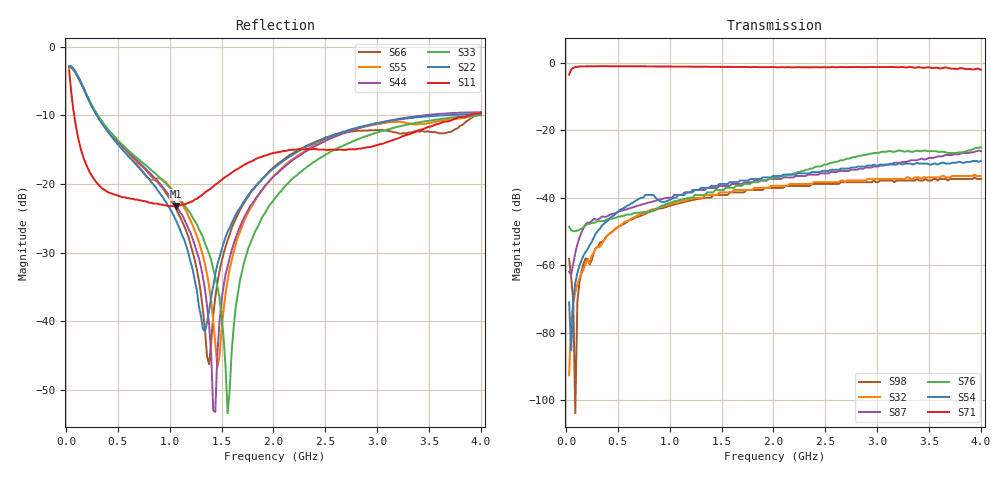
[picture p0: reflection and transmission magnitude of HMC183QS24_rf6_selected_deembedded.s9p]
!Hittite Microwave Corporation
!12 Elizabeth Drive
!Chelmsford, MA 01824
!Tel: 978-250-3343
!Fax: 978-250-3373
!Device: HMC183QS24, DC-2 GHz GaAS MMIC SP8T Non-Reflective Switch in 24-lead QSOP package
!Misc: Port 1 = RFCom, Port 2 = RF1, Port 3 = RF2, Port 4 = RF3, Port 5 = RF4, Port 6 = RF5, Port 7 = RF6, Port 8 = RF7, Port 9 = RF8, RF6 selected, Vctl=0/-5V
# MHZ S MA R 50
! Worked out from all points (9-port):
!   201 points, 30 MHz to 4 GHz, reference 50 ohm
!   strongest paths, dB at 30 MHz, 1.022 GHz, 2.015 GHz, 3.007 GHz, 4 GHz:
!     S71: -3.5, -1.1, -1.3, -1.3, -2.1
!     S54: -71.0, -40.3, -33.6, -30.5, -29.1
!     S76: -48.6, -41.3, -34.0, -26.7, -25.0
!     S87: -61.9, -40.0, -34.4, -30.8, -26.2
!     S32: -92.6, -41.8, -36.5, -34.4, -33.6
!     S98: -58.1, -42.2, -37.1, -35.4, -34.4
!   lowest |S11| = -23.2 dB at 1.062 GHz (marker M1), VSWR 1.15, Z = 56.7 - j3.09 ohm
!   |S11| at or under -10 dB: 79.13 MHz to 3.882 GHz (3.803 GHz wide, 192 % of centre)
